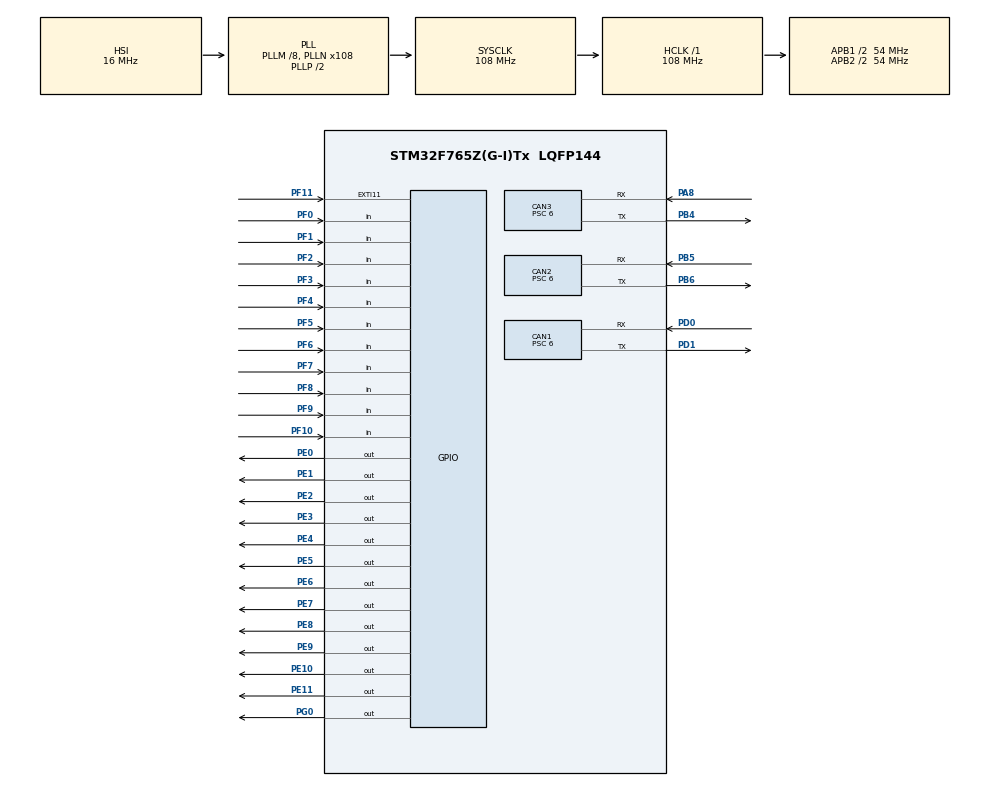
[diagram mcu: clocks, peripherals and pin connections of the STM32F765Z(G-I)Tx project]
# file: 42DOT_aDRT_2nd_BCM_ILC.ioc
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CAN1.ABOM=ENABLE
CAN1.BS1=CAN_BS1_15TQ
CAN1.BS2=CAN_BS2_2TQ
CAN1.CalculateBaudRate=500000
CAN1.CalculateTimeBit=2000
CAN1.CalculateTimeQuantum=111.11111111111111
CAN1.NART=DISABLE
CAN1.Prescaler=6
CAN2.ABOM=ENABLE
CAN2.BS1=CAN_BS1_15TQ
CAN2.BS2=CAN_BS2_2TQ
CAN2.CalculateBaudRate=500000
CAN2.CalculateTimeBit=2000
CAN2.CalculateTimeQuantum=111.11111111111111
CAN2.Prescaler=6
CAN3.ABOM=ENABLE
CAN3.BS1=CAN_BS1_15TQ
CAN3.BS2=CAN_BS2_2TQ
CAN3.CalculateBaudRate=500000
CAN3.CalculateTimeBit=2000
CAN3.CalculateTimeQuantum=111.11111111111111
CAN3.Prescaler=6
Mcu.Family=STM32F7
Mcu.Name=STM32F765Z(G-I)Tx
Mcu.Package=LQFP144
NVIC.CAN1_RX0_IRQn=true\:0\:0\:false\:false\:true\:true\:true
NVIC.CAN2_RX0_IRQn=true\:0\:0\:false\:false\:true\:true\:true
NVIC.CAN3_RX0_IRQn=true\:0\:0\:false\:false\:true\:true\:true
NVIC.PriorityGroup=NVIC_PRIORITYGROUP_4
NVIC.RTC_WKUP_IRQn=true\:0\:0\:false\:false\:true\:true\:true
NVIC.TIM6_DAC_IRQn=true\:1\:0\:true\:false\:true\:true\:true
PA8.Mode=CAN_Activate
PA8.Signal=CAN3_RX
PB4.Mode=CAN_Activate
PB4.Signal=CAN3_TX
PB5.Mode=CAN_Activate
PB5.Signal=CAN2_RX
PB6.Mode=CAN_Activate
PB6.Signal=CAN2_TX
PD0.Mode=CAN_Activate
PD0.Signal=CAN1_RX
PD1.Mode=CAN_Activate
PD1.Signal=CAN1_TX
PE0.Signal=GPIO_Output
PE1.Signal=GPIO_Output
PE10.Signal=GPIO_Output
PE11.Signal=GPIO_Output
PE2.Signal=GPIO_Output
PE3.Signal=GPIO_Output
PE4.Signal=GPIO_Output
PE5.Signal=GPIO_Output
PE6.Signal=GPIO_Output
PE7.Signal=GPIO_Output
PE8.Signal=GPIO_Output
PE9.Signal=GPIO_Output
PF0.Signal=GPIO_Input
PF1.Signal=GPIO_Input
PF10.Signal=GPIO_Input
PF11.GPIO_ModeDefaultEXTI=GPIO_MODE_EVT_RISING
PF11.Signal=GPXTI11
PF2.Signal=GPIO_Input
PF3.Signal=GPIO_Input
PF4.Signal=GPIO_Input
PF5.Signal=GPIO_Input
PF6.Signal=GPIO_Input
PF7.Signal=GPIO_Input
PF8.Signal=GPIO_Input
PF9.Signal=GPIO_Input
PG0.Signal=GPIO_Output
ProjectManager.HeapSize=0x200
ProjectManager.StackSize=0x400
ProjectManager.TargetToolchain=STM32CubeIDE
RCC.AHBFreq_Value=108000000
RCC.APB1CLKDivider=RCC_HCLK_DIV2
RCC.APB1Freq_Value=54000000
RCC.APB1TimFreq_Value=108000000
RCC.APB2CLKDivider=RCC_HCLK_DIV2
RCC.APB2Freq_Value=54000000
RCC.APB2TimFreq_Value=108000000
RCC.CortexFreq_Value=108000000
RCC.HCLKFreq_Value=108000000
RCC.HSE_VALUE=25000000
RCC.HSI_VALUE=16000000
RCC.LSE_VALUE=32768
RCC.PLLM=8
RCC.PLLN=108
RCC.SYSCLKFreq_VALUE=108000000
RCC.SYSCLKSource=RCC_SYSCLKSOURCE_PLLCLK
RCC.USBFreq_Value=108000000
RCC.VCOOutputFreq_Value=216000000
TIM6.Period=200-1
TIM6.Prescaler=1080-1
VP_RTC_VS_RTC_Activate.Mode=RTC_Enabled
VP_RTC_VS_RTC_WakeUp_intern.Mode=WakeUp
VP_TIM6_VS_ClockSourceINT.Mode=Enable_Timer
board=custom

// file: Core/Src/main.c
/* USER CODE BEGIN Header */
/**
  ******************************************************************************
  * @file           : main.c
  * @brief          : Main program body
  ******************************************************************************
  * @attention
  *
  * <h2><center>&copy; Copyright (c) 2021 STMicroelectronics.
  * All rights reserved.</center></h2>
  *
  * This software component is licensed by ST under BSD 3-Clause license,
  * the "License"; You may not use this file except in compliance with the
  * License. You may obtain a copy of the License at:
  *                        opensource.org/licenses/BSD-3-Clause
  *
  ******************************************************************************
  */
/* USER CODE END Header */
#include "main.h"

CAN_HandleTypeDef hcan1;
CAN_HandleTypeDef hcan2;
CAN_HandleTypeDef hcan3;

RTC_HandleTypeDef hrtc;

TIM_HandleTypeDef htim6;

/* USER CODE BEGIN PV */
CAN_FilterTypeDef can1_filter;
CAN_FilterTypeDef can2_filter;
CAN_FilterTypeDef can3_filter;

uint8_t error_flag;
/* USER CODE END PV */

void SystemClock_Config(void);
static void MX_GPIO_Init(void);
static void MX_TIM6_Init(void);
static void MX_RTC_Init(void);
static void MX_CAN1_Init(void);
static void MX_CAN3_Init(void);
static void MX_CAN2_Init(void);
/* USER CODE BEGIN PFP */
void StopModeStart();
/* USER CODE END PFP */

int main(void)
{

  /* MCU Configuration--------------------------------------------------------*/

  /* Reset of all peripherals, Initializes the Flash interface and the Systick. */
  HAL_Init();

  /* Configure the system clock */
  SystemClock_Config();

  /* Initialize all configured peripherals */
  MX_GPIO_Init();
  MX_TIM6_Init();
  MX_RTC_Init();
  MX_CAN1_Init();
  MX_CAN3_Init();
  MX_CAN2_Init();
  /* USER CODE BEGIN 2 */
  HAL_TIM_Base_Start_IT(&htim6);
  /* USER CODE END 2 */

  /* Infinite loop */
  /* USER CODE BEGIN WHILE */
  while (1)
  {
	  HAL_GPIO_WritePin(GPIOG, GPIO_PIN_0, RESET);		// if MCU is normal mode, turn-off led
	  if( stop_enable == 1 ) {
		  HAL_GPIO_WritePin(GPIOG, GPIO_PIN_0, SET);	// if MCU is stop mode, turn-on led
		  stop_enable = 0;
		  StopModeStart();								// Stop Mode start

	  }
    /* USER CODE END WHILE */

  }
}

void SystemClock_Config(void)
{
  RCC_OscInitTypeDef RCC_OscInitStruct = {0};
  RCC_ClkInitTypeDef RCC_ClkInitStruct = {0};
  RCC_PeriphCLKInitTypeDef PeriphClkInitStruct = {0};

  /** Configure the main internal regulator output voltage
  */
  __HAL_RCC_PWR_CLK_ENABLE();
  __HAL_PWR_VOLTAGESCALING_CONFIG(PWR_REGULATOR_VOLTAGE_SCALE3);
  /** Initializes the RCC Oscillators according to the specified parameters
  * in the RCC_OscInitTypeDef structure.
  */
  RCC_OscInitStruct.OscillatorType = RCC_OSCILLATORTYPE_HSI|RCC_OSCILLATORTYPE_LSI;
  RCC_OscInitStruct.HSIState = RCC_HSI_ON;
  RCC_OscInitStruct.HSICalibrationValue = RCC_HSICALIBRATION_DEFAULT;
  RCC_OscInitStruct.LSIState = RCC_LSI_ON;
  RCC_OscInitStruct.PLL.PLLState = RCC_PLL_ON;
  RCC_OscInitStruct.PLL.PLLSource = RCC_PLLSOURCE_HSI;
  RCC_OscInitStruct.PLL.PLLM = 8;
  RCC_OscInitStruct.PLL.PLLN = 108;
  RCC_OscInitStruct.PLL.PLLP = RCC_PLLP_DIV2;
  RCC_OscInitStruct.PLL.PLLQ = 2;
  if (HAL_RCC_OscConfig(&RCC_OscInitStruct) != HAL_OK)
  {
    Error_Handler();
  }
  /** Activate the Over-Drive mode
  */
  if (HAL_PWREx_EnableOverDrive() != HAL_OK)
  {
    Error_Handler();
  }
  /** Initializes the CPU, AHB and APB buses clocks
  */
  RCC_ClkInitStruct.ClockType = RCC_CLOCKTYPE_HCLK|RCC_CLOCKTYPE_SYSCLK
                              |RCC_CLOCKTYPE_PCLK1|RCC_CLOCKTYPE_PCLK2;
  RCC_ClkInitStruct.SYSCLKSource = RCC_SYSCLKSOURCE_PLLCLK;
  RCC_ClkInitStruct.AHBCLKDivider = RCC_SYSCLK_DIV1;
  RCC_ClkInitStruct.APB1CLKDivider = RCC_HCLK_DIV2;
  RCC_ClkInitStruct.APB2CLKDivider = RCC_HCLK_DIV2;

  if (HAL_RCC_ClockConfig(&RCC_ClkInitStruct, FLASH_LATENCY_3) != HAL_OK)
  {
    Error_Handler();
  }
  PeriphClkInitStruct.PeriphClockSelection = RCC_PERIPHCLK_RTC;
  PeriphClkInitStruct.RTCClockSelection = RCC_RTCCLKSOURCE_LSI;
  if (HAL_RCCEx_PeriphCLKConfig(&PeriphClkInitStruct) != HAL_OK)
  {
    Error_Handler();
  }
}

static void MX_CAN1_Init(void)
{

  hcan1.Instance = CAN1;
  hcan1.Init.Prescaler = 6;
  hcan1.Init.Mode = CAN_MODE_NORMAL;
  hcan1.Init.SyncJumpWidth = CAN_SJW_1TQ;
  hcan1.Init.TimeSeg1 = CAN_BS1_15TQ;
  hcan1.Init.TimeSeg2 = CAN_BS2_2TQ;
  hcan1.Init.TimeTriggeredMode = DISABLE;
  hcan1.Init.AutoBusOff = ENABLE;
  hcan1.Init.AutoWakeUp = DISABLE;
  hcan1.Init.AutoRetransmission = DISABLE;
  hcan1.Init.ReceiveFifoLocked = DISABLE;
  hcan1.Init.TransmitFifoPriority = DISABLE;
  if (HAL_CAN_Init(&hcan1) != HAL_OK)
  {
    Error_Handler();
  }
  /* USER CODE BEGIN CAN1_Init 2 */
  can1_filter.FilterScale = CAN_FILTERSCALE_32BIT;
  can1_filter.FilterMode = CAN_FILTERMODE_IDMASK;
  can1_filter.FilterIdHigh = 0x000;
  can1_filter.FilterIdLow = 0x000;
  can1_filter.FilterMaskIdHigh = 0x000;
  can1_filter.FilterMaskIdLow = 0x000;
  can1_filter.FilterFIFOAssignment = CAN_FILTER_FIFO0;
  can1_filter.FilterBank = 0;
  can1_filter.FilterActivation = CAN_FILTER_ENABLE;

  if( HAL_CAN_ConfigFilter(&hcan1, &can1_filter) != HAL_OK ) {
	  Error_Handler();
  }
  if( HAL_CAN_ActivateNotification(&hcan1, CAN_IT_RX_FIFO0_MSG_PENDING) != HAL_OK ) {
	  Error_Handler();
  }
  if( HAL_CAN_Start(&hcan1) != HAL_OK ) {
	  Error_Handler();
  }
  /* USER CODE END CAN1_Init 2 */

}

static void MX_CAN2_Init(void)
{

  hcan2.Instance = CAN2;
  hcan2.Init.Prescaler = 6;
  hcan2.Init.Mode = CAN_MODE_NORMAL;
  hcan2.Init.SyncJumpWidth = CAN_SJW_1TQ;
  hcan2.Init.TimeSeg1 = CAN_BS1_15TQ;
  hcan2.Init.TimeSeg2 = CAN_BS2_2TQ;
  hcan2.Init.TimeTriggeredMode = DISABLE;
  hcan2.Init.AutoBusOff = ENABLE;
  hcan2.Init.AutoWakeUp = DISABLE;
  hcan2.Init.AutoRetransmission = DISABLE;
  hcan2.Init.ReceiveFifoLocked = DISABLE;
  hcan2.Init.TransmitFifoPriority = DISABLE;
  if (HAL_CAN_Init(&hcan2) != HAL_OK)
  {
    Error_Handler();
  }
  /* USER CODE BEGIN CAN2_Init 2 */
  can2_filter.FilterScale = CAN_FILTERSCALE_16BIT;
  can2_filter.FilterMode = CAN_FILTERMODE_IDMASK;
  can2_filter.FilterIdHigh = 0x000 << 5;
  can2_filter.FilterIdLow = 0x000 << 5;
  can2_filter.FilterMaskIdHigh = 0x000 << 5;
  can2_filter.FilterMaskIdLow = 0x000 << 5;
  can2_filter.FilterFIFOAssignment = CAN_FILTER_FIFO0;
  can2_filter.FilterBank = 0;
  can2_filter.FilterActivation = CAN_FILTER_ENABLE;

  if( HAL_CAN_ConfigFilter(&hcan2, &can2_filter) != HAL_OK ) {
	  Error_Handler();
  }
  if( HAL_CAN_ActivateNotification(&hcan2, CAN_IT_RX_FIFO0_MSG_PENDING) != HAL_OK ) {
	  Error_Handler();
  }
  if( HAL_CAN_Start(&hcan2) != HAL_OK ) {
	  Error_Handler();
  }
  /* USER CODE END CAN2_Init 2 */

}

static void MX_CAN3_Init(void)
{

  hcan3.Instance = CAN3;
  hcan3.Init.Prescaler = 6;
  hcan3.Init.Mode = CAN_MODE_NORMAL;
  hcan3.Init.SyncJumpWidth = CAN_SJW_1TQ;
  hcan3.Init.TimeSeg1 = CAN_BS1_15TQ;
  hcan3.Init.TimeSeg2 = CAN_BS2_2TQ;
  hcan3.Init.TimeTriggeredMode = DISABLE;
  hcan3.Init.AutoBusOff = ENABLE;
  hcan3.Init.AutoWakeUp = DISABLE;
  hcan3.Init.AutoRetransmission = DISABLE;
  hcan3.Init.ReceiveFifoLocked = DISABLE;
  hcan3.Init.TransmitFifoPriority = DISABLE;
  if (HAL_CAN_Init(&hcan3) != HAL_OK)
  {
    Error_Handler();
  }
  /* USER CODE BEGIN CAN3_Init 2 */
  can3_filter.FilterScale = CAN_FILTERSCALE_16BIT;
  can3_filter.FilterMode = CAN_FILTERMODE_IDMASK;
  can3_filter.FilterIdHigh = 0x020<<5;
  can3_filter.FilterIdLow = 0x020<<5;
  can3_filter.FilterMaskIdHigh = 0x7FF<<5;
  can3_filter.FilterMaskIdLow = 0x7FF<<5;
  can3_filter.FilterFIFOAssignment = CAN_FILTER_FIFO0;
  can3_filter.FilterBank = 0;
  can3_filter.FilterActivation = CAN_FILTER_ENABLE;

  if( HAL_CAN_ConfigFilter(&hcan3, &can3_filter) != HAL_OK ) {
	  Error_Handler();
  }
  if( HAL_CAN_ActivateNotification(&hcan3, CAN_IT_RX_FIFO0_MSG_PENDING) != HAL_OK ) {
	  Error_Handler();
  }
  if( HAL_CAN_Start(&hcan3) != HAL_OK ) {
	  Error_Handler();
  }
  /* USER CODE END CAN3_Init 2 */

}

static void MX_RTC_Init(void)
{

  /** Initialize RTC Only
  */
  hrtc.Instance = RTC;
  hrtc.Init.HourFormat = RTC_HOURFORMAT_24;
  hrtc.Init.AsynchPrediv = 127;
  hrtc.Init.SynchPrediv = 255;
  hrtc.Init.OutPut = RTC_OUTPUT_DISABLE;
  hrtc.Init.OutPutPolarity = RTC_OUTPUT_POLARITY_HIGH;
  hrtc.Init.OutPutType = RTC_OUTPUT_TYPE_OPENDRAIN;
  if (HAL_RTC_Init(&hrtc) != HAL_OK)
  {
    Error_Handler();
  }
  /** Enable the WakeUp
  */
  if (HAL_RTCEx_SetWakeUpTimer_IT(&hrtc, 0, RTC_WAKEUPCLOCK_RTCCLK_DIV16) != HAL_OK)
  {
    Error_Handler();
  }

}

static void MX_TIM6_Init(void)
{

  TIM_MasterConfigTypeDef sMasterConfig = {0};

  htim6.Instance = TIM6;
  htim6.Init.Prescaler = 1080-1;
  htim6.Init.CounterMode = TIM_COUNTERMODE_UP;
  htim6.Init.Period = 200-1;
  htim6.Init.AutoReloadPreload = TIM_AUTORELOAD_PRELOAD_DISABLE;
  if (HAL_TIM_Base_Init(&htim6) != HAL_OK)
  {
    Error_Handler();
  }
  sMasterConfig.MasterOutputTrigger = TIM_TRGO_RESET;
  sMasterConfig.MasterSlaveMode = TIM_MASTERSLAVEMODE_DISABLE;
  if (HAL_TIMEx_MasterConfigSynchronization(&htim6, &sMasterConfig) != HAL_OK)
  {
    Error_Handler();
  }

}

static void MX_GPIO_Init(void)
{
  GPIO_InitTypeDef GPIO_InitStruct = {0};

  /* GPIO Ports Clock Enable */
  __HAL_RCC_GPIOE_CLK_ENABLE();
  __HAL_RCC_GPIOF_CLK_ENABLE();
  __HAL_RCC_GPIOG_CLK_ENABLE();
  __HAL_RCC_GPIOA_CLK_ENABLE();
  __HAL_RCC_GPIOD_CLK_ENABLE();
  __HAL_RCC_GPIOB_CLK_ENABLE();

  /*Configure GPIO pin Output Level */
  HAL_GPIO_WritePin(GPIOE, GPIO_PIN_2|GPIO_PIN_3|GPIO_PIN_4|GPIO_PIN_5
                          |GPIO_PIN_6|GPIO_PIN_7|GPIO_PIN_8|GPIO_PIN_9
                          |GPIO_PIN_10|GPIO_PIN_11|GPIO_PIN_0|GPIO_PIN_1, GPIO_PIN_RESET);

  /*Configure GPIO pin Output Level */
  HAL_GPIO_WritePin(GPIOG, GPIO_PIN_0, GPIO_PIN_RESET);

  /*Configure GPIO pins : PE2 PE3 PE4 PE5
                           PE6 PE7 PE8 PE9
                           PE10 PE11 PE0 PE1 */
  GPIO_InitStruct.Pin = GPIO_PIN_2|GPIO_PIN_3|GPIO_PIN_4|GPIO_PIN_5
                          |GPIO_PIN_6|GPIO_PIN_7|GPIO_PIN_8|GPIO_PIN_9
                          |GPIO_PIN_10|GPIO_PIN_11|GPIO_PIN_0|GPIO_PIN_1;
  GPIO_InitStruct.Mode = GPIO_MODE_OUTPUT_PP;
  GPIO_InitStruct.Pull = GPIO_NOPULL;
  GPIO_InitStruct.Speed = GPIO_SPEED_FREQ_LOW;
  HAL_GPIO_Init(GPIOE, &GPIO_InitStruct);

  /*Configure GPIO pins : PF0 PF1 PF2 PF3
                           PF4 PF5 PF6 PF7
                           PF8 PF9 PF10 */
  GPIO_InitStruct.Pin = GPIO_PIN_0|GPIO_PIN_1|GPIO_PIN_2|GPIO_PIN_3
                          |GPIO_PIN_4|GPIO_PIN_5|GPIO_PIN_6|GPIO_PIN_7
                          |GPIO_PIN_8|GPIO_PIN_9|GPIO_PIN_10;
  GPIO_InitStruct.Mode = GPIO_MODE_INPUT;
  GPIO_InitStruct.Pull = GPIO_NOPULL;
  HAL_GPIO_Init(GPIOF, &GPIO_InitStruct);

  /*Configure GPIO pin : PF11 */
  GPIO_InitStruct.Pin = GPIO_PIN_11;
  GPIO_InitStruct.Mode = GPIO_MODE_EVT_RISING;
  GPIO_InitStruct.Pull = GPIO_NOPULL;
  HAL_GPIO_Init(GPIOF, &GPIO_InitStruct);

  /*Configure GPIO pin : PG0 */
  GPIO_InitStruct.Pin = GPIO_PIN_0;
  GPIO_InitStruct.Mode = GPIO_MODE_OUTPUT_PP;
  GPIO_InitStruct.Pull = GPIO_NOPULL;
  GPIO_InitStruct.Speed = GPIO_SPEED_FREQ_LOW;
  HAL_GPIO_Init(GPIOG, &GPIO_InitStruct);

}

/* USER CODE BEGIN 4 */
void StopModeStart()
{
	HAL_SuspendTick();

	__HAL_RCC_PWR_CLK_ENABLE();

	/* Enable the WakeUp
	   32768 / 16 = 2048Hz
	   1Hz = 0.00048828125 sec
	   10sec = 20,480Hz (0x5000)
	 */
//	HAL_RTCEx_SetWakeUpTimer_IT(&hrtc, 0xF000, RTC_WAKEUPCLOCK_RTCCLK_DIV16);
	HAL_RTCEx_SetWakeUpTimer_IT(&hrtc, 0xCC, RTC_WAKEUPCLOCK_RTCCLK_DIV16);

	HAL_PWR_EnterSTOPMode(0, PWR_SLEEPENTRY_WFE);

	HAL_ResumeTick();

	HAL_RTCEx_DeactivateWakeUpTimer(&hrtc);

	SystemClock_Config();
}
/* USER CODE END 4 */

void Error_Handler(void)
{
  /* USER CODE BEGIN Error_Handler_Debug */
  /* User can add his own implementation to report the HAL error return state */
  __disable_irq();
  NVIC_SystemReset();
  while (1)
  {
  }
  /* USER CODE END Error_Handler_Debug */
}

/************************ (C) COPYRIGHT STMicroelectronics *****END OF FILE****/
